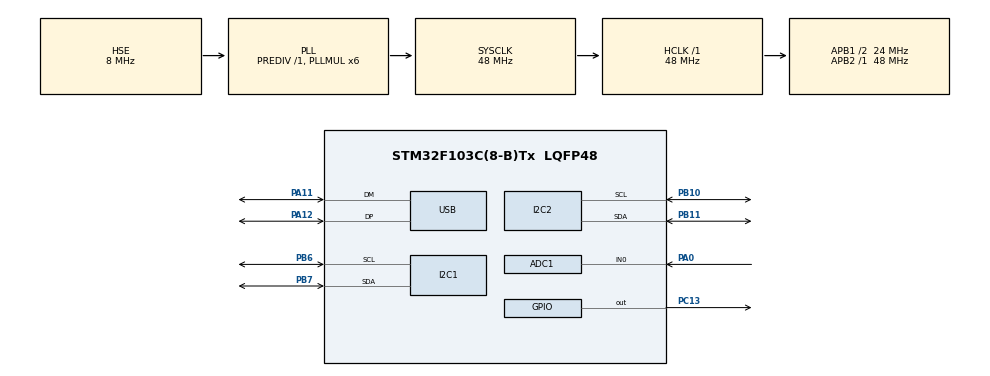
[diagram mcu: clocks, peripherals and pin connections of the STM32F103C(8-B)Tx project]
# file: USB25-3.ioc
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ADC1.Channel-11\#ChannelRegularConversion=ADC_CHANNEL_0
ADC1.ContinuousConvMode=ENABLE
ADC1.NbrOfConversionFlag=1
ADC1.Rank-11\#ChannelRegularConversion=1
ADC1.SamplingTime-11\#ChannelRegularConversion=ADC_SAMPLETIME_239CYCLES_5
ADC1.master=1
Mcu.Family=STM32F1
Mcu.Name=STM32F103C(8-B)Tx
Mcu.Package=LQFP48
NVIC.ADC1_2_IRQn=true\:0\:0\:false\:false\:true\:true\:true\:true
NVIC.PriorityGroup=NVIC_PRIORITYGROUP_4
NVIC.USB_LP_CAN1_RX0_IRQn=true\:0\:0\:false\:false\:true\:false\:true\:true
PA0-WKUP.Signal=ADCx_IN0
PA11.Mode=Device
PA11.Signal=USB_DM
PA12.Mode=Device
PA12.Signal=USB_DP
PA13.Mode=Serial_Wire
PA13.Signal=SYS_JTMS-SWDIO
PA14.Mode=Serial_Wire
PA14.Signal=SYS_JTCK-SWCLK
PB10.Mode=I2C
PB10.Signal=I2C2_SCL
PB11.Mode=I2C
PB11.Signal=I2C2_SDA
PB6.Mode=I2C
PB6.Signal=I2C1_SCL
PB7.Mode=I2C
PB7.Signal=I2C1_SDA
PC13-TAMPER-RTC.Signal=GPIO_Output
PD0-OSC_IN.Mode=HSE-External-Oscillator
PD0-OSC_IN.Signal=RCC_OSC_IN
PD1-OSC_OUT.Mode=HSE-External-Oscillator
PD1-OSC_OUT.Signal=RCC_OSC_OUT
ProjectManager.HeapSize=0x200
ProjectManager.StackSize=0x400
ProjectManager.TargetToolchain=MDK-ARM V5
RCC.ADCPresc=RCC_ADCPCLK2_DIV4
RCC.AHBFreq_Value=48000000
RCC.APB1CLKDivider=RCC_HCLK_DIV2
RCC.APB1Freq_Value=24000000
RCC.APB1TimFreq_Value=48000000
RCC.APB2Freq_Value=48000000
RCC.APB2TimFreq_Value=48000000
RCC.HCLKFreq_Value=48000000
RCC.PLLMUL=RCC_PLL_MUL6
RCC.SYSCLKFreq_VALUE=48000000
RCC.SYSCLKSource=RCC_SYSCLKSOURCE_PLLCLK
RCC.USBFreq_Value=48000000
SH.ADCx_IN0.0=ADC1_IN0,IN0
USB_DEVICE.APP_RX_DATA_SIZE=64
USB_DEVICE.APP_TX_DATA_SIZE=64
USB_DEVICE.CLASS_NAME_FS=CDC
USB_DEVICE.VirtualMode=Cdc
USB_DEVICE.VirtualModeFS=Cdc_FS
VP_USB_DEVICE_VS_USB_DEVICE_CDC_FS.Mode=CDC_FS
board=custom

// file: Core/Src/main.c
/* USER CODE BEGIN Header */
/**
  ******************************************************************************
  * @file           : main.c
  * @brief          : Main program body
  ******************************************************************************
  * @attention
  *
  * Copyright (c) 2025 STMicroelectronics.
  * All rights reserved.
  *
  * This software is licensed under terms that can be found in the LICENSE file
  * in the root directory of this software component.
  * If no LICENSE file comes with this software, it is provided AS-IS.
  *
  ******************************************************************************
  */
/* USER CODE END Header */
#include "main.h"
#include "usb_device.h"

/* USER CODE BEGIN Includes */
#include "CLCD_I2C.h"
#include "usbd_cdc_if.h"
/* USER CODE END Includes */

/* USER CODE BEGIN PTD */
uint16_t value_adc;
float temperature;
float voltage;
float a,b;
uint8_t send_data[8];
uint8_t data_read[8];
uint8_t tx_buffer[100];

/* USER CODE END PTD */

ADC_HandleTypeDef hadc1;
I2C_HandleTypeDef hi2c1;
I2C_HandleTypeDef hi2c2;

/* USER CODE BEGIN PV */
volatile uint8_t recData[16];
CLCD_I2C_Name LCD1;
/* USER CODE END PV */

void SystemClock_Config(void);
static void MX_GPIO_Init(void);
static void MX_I2C1_Init(void);
static void MX_ADC1_Init(void);
static void MX_I2C2_Init(void);

/* USER CODE BEGIN 0 */
void HAL_ADC_ConvCpltCallback(ADC_HandleTypeDef* hadc)
{
  UNUSED(hadc);
  if(hadc->Instance == ADC1)
	{
		value_adc = HAL_ADC_GetValue(&hadc1);
		voltage = (float)(3.3*value_adc/4095);
	}
}
/* USER CODE END 0 */

int main(void)
{

  /* MCU Configuration--------------------------------------------------------*/

  /* Reset of all peripherals, Initializes the Flash interface and the Systick. */
  HAL_Init();

  /* Configure the system clock */
  SystemClock_Config();

  /* Initialize all configured peripherals */
  MX_GPIO_Init();
  MX_USB_DEVICE_Init();
  MX_I2C1_Init();
  MX_ADC1_Init();
  MX_I2C2_Init();
  /* USER CODE BEGIN 2 */

CLCD_I2C_Init(&LCD1,&hi2c1,0x4e,20,4);
CLCD_I2C_SetCursor(&LCD1, 0,0);
CLCD_I2C_WriteString(&LCD1, "     Project       ");
HAL_Delay(1000);
HAL_ADC_Start_IT(&hadc1);
  /* USER CODE END 2 */

  /* Infinite loop */
  while (1)
  {

    /* USER CODE BEGIN 3 */
		HAL_I2C_Mem_Read(&hi2c2, 0xA1, 0x00, 2, &data_read[0], 4, 50);
		HAL_I2C_Mem_Read(&hi2c2, 0xA1, 0x09, 2, &data_read[4], 4, 50); //04
		float a = *((float*)&data_read[0]);
		float b = *((float*)&data_read[4]);
		temperature = ((voltage*a) + b);
		if (recData[0] == 0x02)
		{
				CLCD_I2C_SetCursor(&LCD1, 0,0);
				CLCD_I2C_WriteString(&LCD1, "Voltage:  ");
				CLCD_I2C_SetCursor(&LCD1, 0,1);
				CLCD_I2C_WriteString(&LCD1, "NhietDo:");

				char tempVol[6];
				char tempVal[6];
				sprintf(tempVol, "%f", voltage);
				sprintf(tempVal, "%f", temperature);

				CLCD_I2C_SetCursor(&LCD1, 10,0);
				CLCD_I2C_WriteString(&LCD1, tempVol);
				CLCD_I2C_SetCursor(&LCD1, 10,1);
				CLCD_I2C_WriteString(&LCD1, tempVal);
				sprintf((char*)tx_buffer, "Nhiet do: %.4f; a: %.4f; b: %.4f", temperature, a, b);
				CDC_Transmit_FS(tx_buffer, strlen((char*)tx_buffer));
		}

			 if (recData[0] == 0x03)
			{
				float a = *((float*)&recData[1]);  // byte to float Chỉ lấy từ chỉ số 4 đến 7
				float b = *((float*)&recData[5]);  // byte to float Chỉ lấy từ chỉ số 8 đến 11
				memcpy(&send_data[0], &a, sizeof(a)); // float to byte
				memcpy(&send_data[4], &b, sizeof(b)); // float to byte

				HAL_I2C_Mem_Write(&hi2c2, 0xA0, 0x00, 2, &send_data[0], 4, 50);  // Luu a vao EEPROM 0x00
				HAL_Delay(10);
				HAL_I2C_Mem_Write(&hi2c2, 0xA0, 0x09, 2, &send_data[4], 4, 50);  // Luu b vao 0x04
				HAL_Delay(10);

				CLCD_I2C_SetCursor(&LCD1, 0,0);
				CLCD_I2C_WriteString(&LCD1, "    a:             ");
				CLCD_I2C_SetCursor(&LCD1, 0,1);
				CLCD_I2C_WriteString(&LCD1, "    b:             ");
				char tempa[6];
				char tempb[6];
				sprintf(tempa, "%f", a);
				sprintf(tempb, "%f", b);
				CLCD_I2C_SetCursor(&LCD1, 10,0);
				CLCD_I2C_WriteString(&LCD1, tempa);
				CLCD_I2C_SetCursor(&LCD1, 10,1);
				CLCD_I2C_WriteString(&LCD1, tempb);
				HAL_Delay(100);
			}
		}

  /* USER CODE END 3 */
}

void SystemClock_Config(void)
{
  RCC_OscInitTypeDef RCC_OscInitStruct = {0};
  RCC_ClkInitTypeDef RCC_ClkInitStruct = {0};
  RCC_PeriphCLKInitTypeDef PeriphClkInit = {0};

  /** Initializes the RCC Oscillators according to the specified parameters
  * in the RCC_OscInitTypeDef structure.
  */
  RCC_OscInitStruct.OscillatorType = RCC_OSCILLATORTYPE_HSE;
  RCC_OscInitStruct.HSEState = RCC_HSE_ON;
  RCC_OscInitStruct.HSEPredivValue = RCC_HSE_PREDIV_DIV1;
  RCC_OscInitStruct.HSIState = RCC_HSI_ON;
  RCC_OscInitStruct.PLL.PLLState = RCC_PLL_ON;
  RCC_OscInitStruct.PLL.PLLSource = RCC_PLLSOURCE_HSE;
  RCC_OscInitStruct.PLL.PLLMUL = RCC_PLL_MUL6;
  if (HAL_RCC_OscConfig(&RCC_OscInitStruct) != HAL_OK)
  {
    Error_Handler();
  }

  /** Initializes the CPU, AHB and APB buses clocks
  */
  RCC_ClkInitStruct.ClockType = RCC_CLOCKTYPE_HCLK|RCC_CLOCKTYPE_SYSCLK
                              |RCC_CLOCKTYPE_PCLK1|RCC_CLOCKTYPE_PCLK2;
  RCC_ClkInitStruct.SYSCLKSource = RCC_SYSCLKSOURCE_PLLCLK;
  RCC_ClkInitStruct.AHBCLKDivider = RCC_SYSCLK_DIV1;
  RCC_ClkInitStruct.APB1CLKDivider = RCC_HCLK_DIV2;
  RCC_ClkInitStruct.APB2CLKDivider = RCC_HCLK_DIV1;

  if (HAL_RCC_ClockConfig(&RCC_ClkInitStruct, FLASH_LATENCY_1) != HAL_OK)
  {
    Error_Handler();
  }
  PeriphClkInit.PeriphClockSelection = RCC_PERIPHCLK_ADC|RCC_PERIPHCLK_USB;
  PeriphClkInit.AdcClockSelection = RCC_ADCPCLK2_DIV4;
  PeriphClkInit.UsbClockSelection = RCC_USBCLKSOURCE_PLL;
  if (HAL_RCCEx_PeriphCLKConfig(&PeriphClkInit) != HAL_OK)
  {
    Error_Handler();
  }
}

static void MX_ADC1_Init(void)
{

  ADC_ChannelConfTypeDef sConfig = {0};

  /** Common config
  */
  hadc1.Instance = ADC1;
  hadc1.Init.ScanConvMode = ADC_SCAN_DISABLE;
  hadc1.Init.ContinuousConvMode = ENABLE;
  hadc1.Init.DiscontinuousConvMode = DISABLE;
  hadc1.Init.ExternalTrigConv = ADC_SOFTWARE_START;
  hadc1.Init.DataAlign = ADC_DATAALIGN_RIGHT;
  hadc1.Init.NbrOfConversion = 1;
  if (HAL_ADC_Init(&hadc1) != HAL_OK)
  {
    Error_Handler();
  }

  /** Configure Regular Channel
  */
  sConfig.Channel = ADC_CHANNEL_0;
  sConfig.Rank = ADC_REGULAR_RANK_1;
  sConfig.SamplingTime = ADC_SAMPLETIME_239CYCLES_5;
  if (HAL_ADC_ConfigChannel(&hadc1, &sConfig) != HAL_OK)
  {
    Error_Handler();
  }

}

static void MX_I2C1_Init(void)
{

  hi2c1.Instance = I2C1;
  hi2c1.Init.ClockSpeed = 100000;
  hi2c1.Init.DutyCycle = I2C_DUTYCYCLE_2;
  hi2c1.Init.OwnAddress1 = 0;
  hi2c1.Init.AddressingMode = I2C_ADDRESSINGMODE_7BIT;
  hi2c1.Init.DualAddressMode = I2C_DUALADDRESS_DISABLE;
  hi2c1.Init.OwnAddress2 = 0;
  hi2c1.Init.GeneralCallMode = I2C_GENERALCALL_DISABLE;
  hi2c1.Init.NoStretchMode = I2C_NOSTRETCH_DISABLE;
  if (HAL_I2C_Init(&hi2c1) != HAL_OK)
  {
    Error_Handler();
  }

}

static void MX_I2C2_Init(void)
{

  hi2c2.Instance = I2C2;
  hi2c2.Init.ClockSpeed = 100000;
  hi2c2.Init.DutyCycle = I2C_DUTYCYCLE_2;
  hi2c2.Init.OwnAddress1 = 0;
  hi2c2.Init.AddressingMode = I2C_ADDRESSINGMODE_7BIT;
  hi2c2.Init.DualAddressMode = I2C_DUALADDRESS_DISABLE;
  hi2c2.Init.OwnAddress2 = 0;
  hi2c2.Init.GeneralCallMode = I2C_GENERALCALL_DISABLE;
  hi2c2.Init.NoStretchMode = I2C_NOSTRETCH_DISABLE;
  if (HAL_I2C_Init(&hi2c2) != HAL_OK)
  {
    Error_Handler();
  }

}

static void MX_GPIO_Init(void)
{
  GPIO_InitTypeDef GPIO_InitStruct = {0};

  /* GPIO Ports Clock Enable */
  __HAL_RCC_GPIOC_CLK_ENABLE();
  __HAL_RCC_GPIOD_CLK_ENABLE();
  __HAL_RCC_GPIOA_CLK_ENABLE();
  __HAL_RCC_GPIOB_CLK_ENABLE();

  /*Configure GPIO pin Output Level */
  HAL_GPIO_WritePin(GPIOC, GPIO_PIN_13, GPIO_PIN_RESET);

  /*Configure GPIO pin : PC13 */
  GPIO_InitStruct.Pin = GPIO_PIN_13;
  GPIO_InitStruct.Mode = GPIO_MODE_OUTPUT_PP;
  GPIO_InitStruct.Pull = GPIO_NOPULL;
  GPIO_InitStruct.Speed = GPIO_SPEED_FREQ_LOW;
  HAL_GPIO_Init(GPIOC, &GPIO_InitStruct);

}

void Error_Handler(void)
{
  __disable_irq();
  while (1)
  {
  }
}
